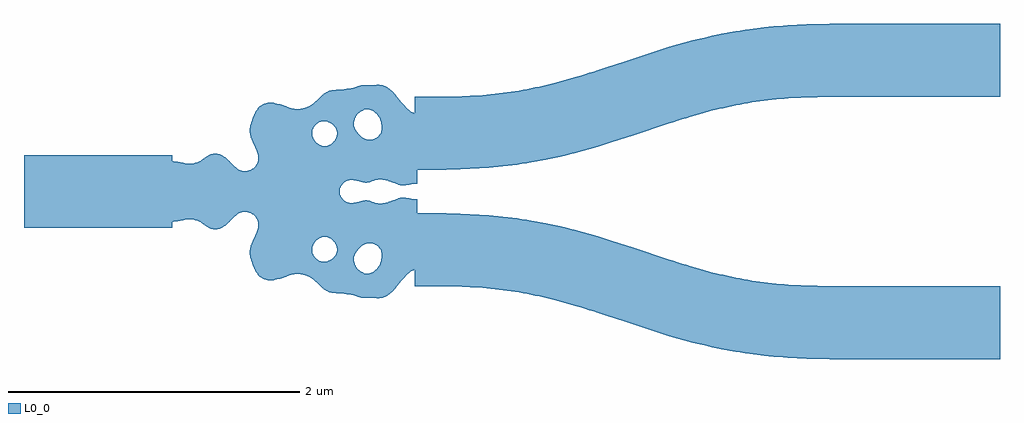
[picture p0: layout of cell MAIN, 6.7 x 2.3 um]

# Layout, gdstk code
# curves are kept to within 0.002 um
import gdstk
lib = gdstk.Library(unit=1e-6, precision=1e-09)
def R(c, l, rs):  # rectangles x0, y0, x1, y1
    for r in rs: c.add(gdstk.rectangle(r[:2], r[2:], *l))
def P(c, l, *ps):  # polygons
    for p in ps: c.add(gdstk.Polygon(p, *l))
L0_0 = (0, 0)

main_y = lib.new_cell('MAIN_Y')
R(main_y, L0_0, [(-3.35,0,-2.334,0.25)])
P(main_y, L0_0, [(-0.481,0.151),(-0.226,0.159),(-0.064,0.173),(0.068,0.19),(0.232,0.218),(0.427,0.263),(0.587,0.308),(0.837,0.387),(1.107,0.477),(1.366,0.553),(1.507,0.586),(1.701,0.62),(1.869,0.638),(2.068,0.648),(3.35,0.65),(3.35,1.15),(2.118,1.149),(1.894,1.141),(1.732,1.127),(1.633,1.115),(1.436,1.082),(1.241,1.037),(0.986,0.963),(0.445,0.787),(0.302,0.747),(0.161,0.714),(-0.033,0.68),(-0.201,0.662),(-0.4,0.652),(-0.666,0.65),(-0.666,0.15)],
  [(-1.797,0.394),(-1.792,0.37),(-1.755,0.286),(-1.755,0.554),(-1.767,0.534),(-1.788,0.482),(-1.799,0.43)],
  [(-1.755,0.181),(-1.774,0.16),(-1.798,0.146),(-1.826,0.139),(-1.858,0.142),(-1.882,0.153),(-1.899,0.166),(-1.954,0.221),(-1.978,0.24),(-1.998,0.251),(-2.034,0.26),(-2.074,0.252),(-2.146,0.205),(-2.186,0.192),(-2.242,0.192),(-2.298,0.204),(-2.35,0.208),(-2.35,0),(-1.755,0)],
  [(-1.372,0.406),(-1.362,0.44),(-1.354,0.452),(-1.334,0.47),(-1.318,0.478),(-1.294,0.483),(-1.274,0.481),(-1.253,0.474),(-1.253,0.69),(-1.294,0.668),(-1.354,0.611),(-1.374,0.596),(-1.41,0.577),(-1.434,0.569),(-1.466,0.564),(-1.49,0.565),(-1.522,0.572),(-1.582,0.596),(-1.614,0.604),(-1.634,0.608),(-1.678,0.608),(-1.698,0.603),(-1.722,0.59),(-1.744,0.57),(-1.755,0.554),(-1.755,0.402),(-1.372,0.402)],
  [(-1.253,0.318),(-1.27,0.312),(-1.294,0.311),(-1.314,0.316),(-1.33,0.325),(-1.346,0.339),(-1.36,0.358),(-1.367,0.374),(-1.372,0.402),(-1.755,0.402),(-1.755,0.286),(-1.748,0.27),(-1.741,0.238),(-1.741,0.218),(-1.746,0.198),(-1.755,0.181),(-1.755,0),(-1.253,0)],
  [(-1.214,0.443),(-1.205,0.426),(-1.201,0.41),(-1.204,0.378),(-1.212,0.358),(-1.223,0.342),(-1.242,0.324),(-1.253,0.318),(-1.253,0),(-1.184,0),(-1.179,0.026),(-1.164,0.05),(-1.142,0.069),(-1.119,0.078),(-1.09,0.079),(-1.006,0.061),(-0.974,0.066),(-0.974,0.354),(-0.99,0.355),(-1.01,0.361),(-1.026,0.369),(-1.042,0.382),(-1.072,0.418),(-1.082,0.439),(-1.086,0.458),(-1.086,0.474),(-1.08,0.498),(-1.068,0.522),(-1.054,0.538),(-1.018,0.56),(-1.002,0.564),(-0.974,0.562),(-0.974,0.729),(-1.022,0.731),(-1.114,0.704),(-1.154,0.7),(-1.206,0.7),(-1.253,0.69),(-1.253,0.474),(-1.232,0.462)],
  [(-0.966,0.069),(-0.934,0.08),(-0.898,0.084),(-0.854,0.076),(-0.766,0.044),(-0.742,0.043),(-0.686,0.052),(-0.65,0.052),(-0.65,0.533),(-0.682,0.541),(-0.718,0.568),(-0.755,0.606),(-0.81,0.674),(-0.842,0.704),(-0.874,0.724),(-0.91,0.732),(-0.974,0.729),(-0.974,0.562),(-0.95,0.551),(-0.92,0.522),(-0.9,0.486),(-0.893,0.454),(-0.896,0.414),(-0.911,0.386),(-0.941,0.362),(-0.974,0.354),(-0.974,0.066)])

main = lib.new_cell('MAIN')
main.add(gdstk.Reference(main_y, (0,0)))
main.add(gdstk.Reference(main_y, (0,0), x_reflection=True))

lib.write_gds('MAIN.gds')
